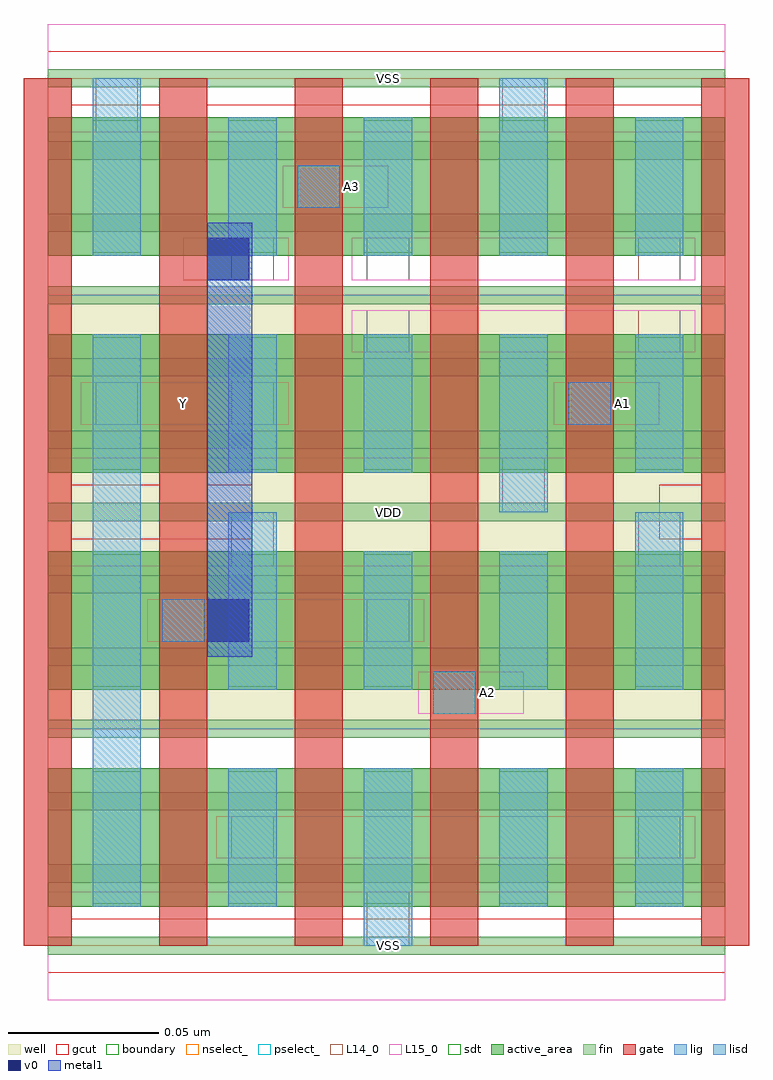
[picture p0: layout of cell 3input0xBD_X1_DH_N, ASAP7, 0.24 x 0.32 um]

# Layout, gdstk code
import gdstk
lib = gdstk.Library(unit=1e-6, precision=1e-09)
def R(c, l, rs):  # rectangles x0, y0, x1, y1
    for r in rs: c.add(gdstk.rectangle(r[:2], r[2:], *l))
def A(c, l, x, y, w, h, nx, ny, dx, dy):  # array of equal rectangles
    R(c, l, [(x+i*dx, y+j*dy, x+i*dx+w, y+j*dy+h) for i in range(nx) for j in range(ny)])
def P(c, l, *ps):  # polygons
    for p in ps: c.add(gdstk.Polygon(p, *l))
well = (1, 0)
fin = (2, 0)
gate = (7, 0)
gcut = (10, 0)
active_area = (11, 0)
nselect_ = (12, 0)
pselect_ = (13, 0)
L14_0 = (14, 0)
L15_0 = (15, 0)
lig = (16, 0)
lisd = (17, 0)
v0 = (18, 0)
metal1 = (19, 0)
sdt = (88, 0)
boundary = (100, 0)

c_3input0xbd_x1_dh_n = lib.new_cell('3input0xBD_X1_DH_N')
R(c_3input0xbd_x1_dh_n, well, [(0,0.072,0.225,0.144), (0,0.144,0.225,0.216)])
A(c_3input0xbd_x1_dh_n, fin, 0, -0.003, 0.225, 0.006, 1, 13, 0, 0.024)
A(c_3input0xbd_x1_dh_n, gate, -0.008, 0, 0.016, 0.288, 6, 1, 0.045, 0)
P(c_3input0xbd_x1_dh_n, gcut, [(0,-0.009),(0,0),(-0.008,0),(-0.008,0.279),(0.008,0.279),(0.008,0.153),(0.037,0.153),(0.037,0.279),(0.053,0.279),(0.053,0.153),(0.068,0.153),(0.068,0.135),(0.008,0.135),(0.008,0.009),(0.217,0.009),(0.217,0.135),(0.203,0.135),(0.203,0.153),(0.217,0.153),(0.217,0.279),(-0.008,0.279),(-0.008,0.288),(0,0.288),(0,0.297),(0.225,0.297),(0.225,0.288),(0.233,0.288),(0.233,0),(0.225,0),(0.225,-0.009)])
A(c_3input0xbd_x1_dh_n, active_area, 0, 0.013, 0.225, 0.046, 1, 4, 0, 0.072)
R(c_3input0xbd_x1_dh_n, nselect_, [(0,0,0.225,0.072), (0,0.216,0.225,0.288)])
R(c_3input0xbd_x1_dh_n, pselect_, [(0,0.072,0.225,0.144), (0,0.144,0.225,0.216)])
R(c_3input0xbd_x1_dh_n, L14_0, [(0.106,0,0.12,0.018), (0.061,0.029,0.075,0.043), (0.196,0.029,0.21,0.043), (0.128,0.077,0.142,0.091), (0.038,0.101,0.052,0.115), (0.106,0.101,0.12,0.115), (0.061,0.126,0.075,0.144), (0.196,0.126,0.21,0.144), (0.151,0.144,0.165,0.162), (0.016,0.173,0.03,0.187), (0.061,0.173,0.075,0.187), (0.173,0.173,0.187,0.187), (0.106,0.197,0.12,0.211), (0.196,0.197,0.21,0.211), (0.061,0.221,0.075,0.235), (0.106,0.221,0.12,0.235), (0.196,0.221,0.21,0.235), (0.083,0.245,0.097,0.259), (0.016,0.27,0.03,0.288), (0.151,0.27,0.165,0.288)])
A(c_3input0xbd_x1_dh_n, L15_0, 0, -0.018, 0.225, 0.036, 1, 3, 0, 0.144)
R(c_3input0xbd_x1_dh_n, L15_0, [(0.056,0.029,0.215,0.043), (0.123,0.077,0.158,0.091), (0.033,0.101,0.125,0.115), (0.011,0.173,0.08,0.187), (0.168,0.173,0.203,0.187), (0.101,0.197,0.215,0.211), (0.045,0.221,0.08,0.235), (0.101,0.221,0.215,0.235), (0.078,0.245,0.113,0.259)])
R(c_3input0xbd_x1_dh_n, lig, [(0.128,0.077,0.142,0.091), (0.038,0.101,0.052,0.115), (0.173,0.173,0.187,0.187), (0.083,0.245,0.097,0.259)])
A(c_3input0xbd_x1_dh_n, lisd, 0.105, 0.085, 0.016, 0.046, 1, 3, 0, 0.072)
R(c_3input0xbd_x1_dh_n, lisd, [(0.105,0,0.121,0.059), (0.015,0.013,0.031,0.203), (0.06,0.013,0.076,0.059), (0.15,0.013,0.166,0.059), (0.195,0.013,0.211,0.059), (0.06,0.085,0.076,0.144), (0.15,0.085,0.166,0.131), (0.195,0.085,0.211,0.144), (0.15,0.144,0.166,0.203), (0.06,0.157,0.076,0.203), (0.195,0.157,0.211,0.203), (0.015,0.229,0.031,0.288), (0.06,0.229,0.076,0.275), (0.15,0.229,0.166,0.288), (0.195,0.229,0.211,0.275)])
R(c_3input0xbd_x1_dh_n, v0, [(0.053,0.101,0.067,0.115), (0.053,0.221,0.067,0.235)])
R(c_3input0xbd_x1_dh_n, metal1, [(0.053,0.096,0.068,0.24)])
A(c_3input0xbd_x1_dh_n, sdt, 0.015, 0.014, 0.016, 0.044, 5, 4, 0.045, 0.072)
R(c_3input0xbd_x1_dh_n, boundary, [(0,0,0.225,0.288)])
c_3input0xbd_x1_dh_n.add(gdstk.Label('A1', (0.191,0.18), layer=15, texttype=251))
c_3input0xbd_x1_dh_n.add(gdstk.Label('VSS', (0.113,0), layer=15, texttype=251))
c_3input0xbd_x1_dh_n.add(gdstk.Label('VDD', (0.113,0.144), layer=15, texttype=251))
c_3input0xbd_x1_dh_n.add(gdstk.Label('VDD', (0.113,0.144), layer=15, texttype=251))
c_3input0xbd_x1_dh_n.add(gdstk.Label('VSS', (0.113,0.288), layer=15, texttype=251))
c_3input0xbd_x1_dh_n.add(gdstk.Label('A2', (0.146,0.084), layer=15, texttype=251))
c_3input0xbd_x1_dh_n.add(gdstk.Label('VSS', (0.113,0), layer=15, texttype=251))
c_3input0xbd_x1_dh_n.add(gdstk.Label('VDD', (0.113,0.144), layer=15, texttype=251))
c_3input0xbd_x1_dh_n.add(gdstk.Label('VDD', (0.113,0.144), layer=15, texttype=251))
c_3input0xbd_x1_dh_n.add(gdstk.Label('VSS', (0.113,0.288), layer=15, texttype=251))
c_3input0xbd_x1_dh_n.add(gdstk.Label('Y', (0.045,0.18), layer=15, texttype=251))
c_3input0xbd_x1_dh_n.add(gdstk.Label('VSS', (0.113,0), layer=15, texttype=251))
c_3input0xbd_x1_dh_n.add(gdstk.Label('VDD', (0.113,0.144), layer=15, texttype=251))
c_3input0xbd_x1_dh_n.add(gdstk.Label('VDD', (0.113,0.144), layer=15, texttype=251))
c_3input0xbd_x1_dh_n.add(gdstk.Label('VSS', (0.113,0.288), layer=15, texttype=251))
c_3input0xbd_x1_dh_n.add(gdstk.Label('A3', (0.101,0.252), layer=15, texttype=251))
c_3input0xbd_x1_dh_n.add(gdstk.Label('VSS', (0.113,0), layer=15, texttype=251))
c_3input0xbd_x1_dh_n.add(gdstk.Label('VDD', (0.113,0.144), layer=15, texttype=251))
c_3input0xbd_x1_dh_n.add(gdstk.Label('VDD', (0.113,0.144), layer=15, texttype=251))
c_3input0xbd_x1_dh_n.add(gdstk.Label('VSS', (0.113,0.288), layer=15, texttype=251))
c_3input0xbd_x1_dh_n.add(gdstk.Label('VSS', (0.113,0), layer=3, texttype=251))
c_3input0xbd_x1_dh_n.add(gdstk.Label('VSS', (0.113,0.288), layer=3, texttype=251))
c_3input0xbd_x1_dh_n.add(gdstk.Label('VSS', (0.113,0), layer=3, texttype=251))
c_3input0xbd_x1_dh_n.add(gdstk.Label('VSS', (0.113,0.288), layer=3, texttype=251))
c_3input0xbd_x1_dh_n.add(gdstk.Label('VSS', (0.113,0), layer=3, texttype=251))
c_3input0xbd_x1_dh_n.add(gdstk.Label('VSS', (0.113,0.288), layer=3, texttype=251))
c_3input0xbd_x1_dh_n.add(gdstk.Label('VSS', (0.113,0), layer=3, texttype=251))
c_3input0xbd_x1_dh_n.add(gdstk.Label('VSS', (0.113,0.288), layer=3, texttype=251))
c_3input0xbd_x1_dh_n.add(gdstk.Label('VDD', (0.113,0.144), layer=1, texttype=251))
c_3input0xbd_x1_dh_n.add(gdstk.Label('VDD', (0.113,0.144), layer=1, texttype=251))
c_3input0xbd_x1_dh_n.add(gdstk.Label('VDD', (0.113,0.144), layer=1, texttype=251))
c_3input0xbd_x1_dh_n.add(gdstk.Label('VDD', (0.113,0.144), layer=1, texttype=251))
c_3input0xbd_x1_dh_n.add(gdstk.Label('VDD', (0.113,0.144), layer=1, texttype=251))
c_3input0xbd_x1_dh_n.add(gdstk.Label('VDD', (0.113,0.144), layer=1, texttype=251))
c_3input0xbd_x1_dh_n.add(gdstk.Label('VDD', (0.113,0.144), layer=1, texttype=251))
c_3input0xbd_x1_dh_n.add(gdstk.Label('VDD', (0.113,0.144), layer=1, texttype=251))

lib.write_gds('3input0xBD_X1_DH_N.gds')
